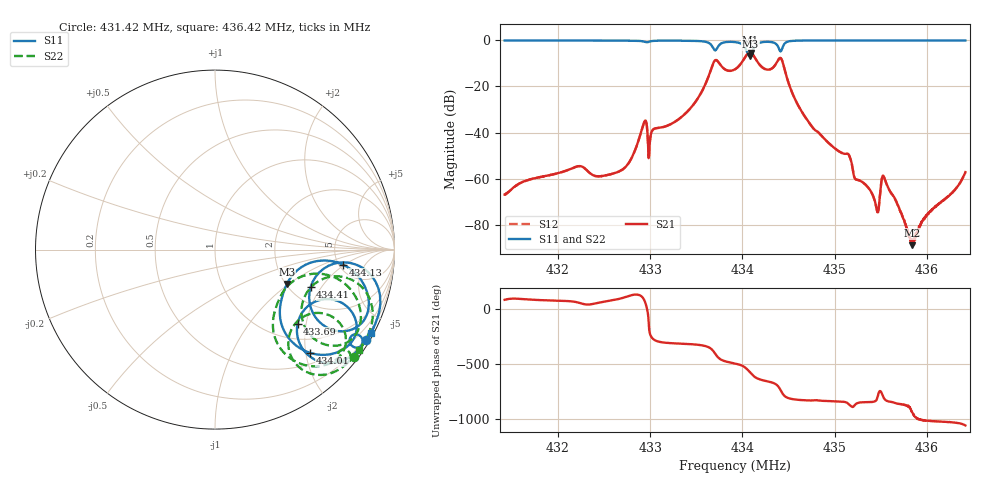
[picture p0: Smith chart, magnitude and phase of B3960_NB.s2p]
! Matrix data file written by TouchstoneData, EPCOS AG
! FILENAME: "B3960_NB.s2p"
! COMMENT: "PINNING 1/4; PORTEX 1=103PS; 2=189.5PS; 23 F"
! INFO: nport=2, nfreq=1601
! DATE: "Wed Feb  1 14:07:07 2012"
! USER: "Wilfried Schott"
! port | pin | signal
!  1  |  1  |  IN
!  2  |  4  |  OUT
# MHZ S MA R 50
! freq  magS11 angS11  magS21 angS21  magS12 angS12  magS22 angS22
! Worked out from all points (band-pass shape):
!   1601 points, 431.42 MHz to 436.42 MHz, reference 50 ohm
!   highest |S21| = -5.48 dB at 434.09 MHz (marker M1); lowest = -88.8 dB at 435.85 MHz (marker M2)
!   |S21| within 3 dB of the highest: 434.0125 MHz to 434.1494 MHz (136.9 kHz wide, 0.0315 % of centre); 434.3901 MHz to 434.4277 MHz (37.65 kHz wide, 0.00867 % of centre)
!   lowest |S11| = -7.1 dB at 434.08 MHz (marker M3), VSWR 2.60, Z = 101 - j48.4 ohm
!   |S11| at or under -10 dB: nowhere
!   |S22| runs from -7.0 to -0.2 dB; largest |S21 - S12| = 0.0023
!   S11 on the Smith chart (normalised r, x): 431.42 MHz: 0.12, -3.61; 433.69 MHz: 1.33, -1.79; 434.01 MHz: 0.70, -2.09; 434.13 MHz: 5.42, -1.88; 434.41 MHz: 2.58, -1.59; 436.42 MHz: 0.14, -3.98
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431.42  0.9826 -30.9  0.0004522 79.6  0.0004495 79.3  0.9773 -37.6
432.2544  0.9806 -31.9  0.001851 46.3  0.001841 46.3  0.9751 -38.5
432.6669  0.9784 -32.9  0.001461 88.9  0.001449 88.9  0.9732 -39.5
432.9356  0.9284 -35.1  0.01694 76.8  0.01686 76.9  0.9246 -41.6
432.995  0.9357 -30.7  0.005996 139.5  0.00596 139.6  0.9328 -37.3
433.0888  0.973 -32.4  0.01263 62.3  0.01256 62.4  0.9684 -39.0
433.4419  0.9679 -37.0  0.03462 38.7  0.03445 38.8  0.9632 -43.5
433.695  0.6184 -42.0  0.3493 -35.2  0.348 -35.1  0.6267 -48.3
433.92  0.9082 -37.4  0.2343 -135.7  0.2332 -135.7  0.9038 -44.1
434.0075  0.7825 -47.3  0.3633 -159.8  0.3617 -159.7  0.7815 -53.7
434.0825  0.444 -25.6  0.5284 146.1  0.5276 146.1  0.4465 -33.3
434.0888  0.4516 -19.4  0.5319 140.4  0.5307 140.4  0.4519 -27.0
434.1325  0.718 -6.7  0.428 104.0  0.4261 104.0  0.716 -13.8
434.3419  0.8818 -30.4  0.2666 46.2  0.2656 46.2  0.8773 -37.3
434.4137  0.572 -21.3  0.4115 -15.0  0.4101 -15.0  0.5643 -28.2
434.7544  0.9819 -23.1  0.01353 -109.6  0.01345 -109.5  0.977 -29.7
435.1513  0.983 -25.9  0.003387 -140.9  0.003366 -140.6  0.978 -32.6
435.4575  0.9846 -26.8  0.0002229 -101.7  0.0002199 -101.4  0.979 -33.5
435.5263  0.9835 -26.9  0.001171 -72.5  0.001163 -72.5  0.9781 -33.6
435.5888  0.9842 -27.0  0.0006031 -119.3  0.0006027 -118.9  0.979 -33.7
435.845  0.9845 -27.5  3.642e-05 142.2  4.912e-05 145.7  0.9789 -34.2
436.42  0.9836 -28.2  0.001388 24.6  0.00138 24.7  0.9781 -34.9
